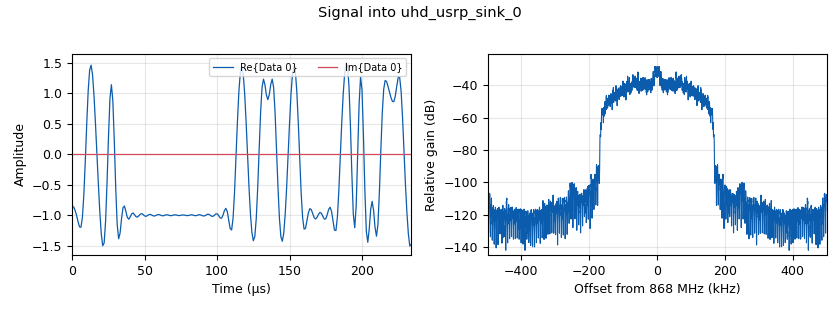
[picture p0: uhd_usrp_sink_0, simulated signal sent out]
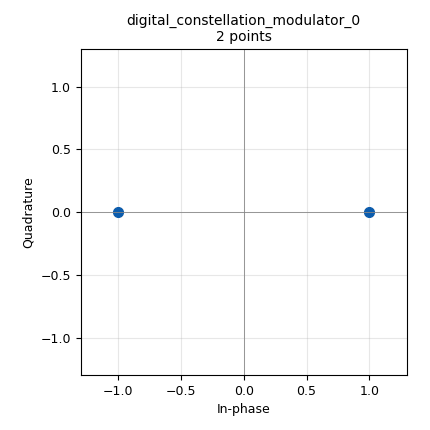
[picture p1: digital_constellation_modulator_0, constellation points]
options:
  parameters:
    generate_options: qt_gui
    id: moddemod
    output_language: python
    title: Not titled yet
  states: {}

blocks:
- name: BPSK
  id: variable_constellation
  parameters:
    precision: '8'
    type: bpsk
  states: {}
- name: header
  id: variable
  parameters:
    value: digital.header_format_default(key,0)
  states: {}
- name: key
  id: variable
  parameters:
    value: '"111000010101101010101010101110100010010011"'
  states: {}
- name: loop_bandwidth
  id: variable
  parameters:
    value: '0.1'
  states: {}
- name: samp_rate
  id: variable
  parameters:
    value: '1000000'
  states: {}
- name: taps
  id: variable
  parameters:
    value: firdes.root_raised_cosine(gain=1.0, sampling_freq=samp_rate, symbol_rate=500000 , alpha=0.35, ntaps=101)
  states: {}
- name: blocks_stream_to_tagged_stream_0
  id: blocks_stream_to_tagged_stream
  parameters:
    len_tag_key: '"packet_len"'
    packet_len: '22'
    type: byte
  states: {}
- name: blocks_tagged_stream_mux_0
  id: blocks_tagged_stream_mux
  parameters:
    lengthtagname: '"packet_len"'
    ninputs: '2'
    type: byte
  states: {}
- name: digital_constellation_modulator_0
  id: digital_constellation_modulator
  parameters:
    constellation: BPSK
    differential: 'True'
    excess_bw: '0.35'
    samples_per_symbol: '4'
  states: {}
- name: digital_protocol_formatter_bb_0
  id: digital_protocol_formatter_bb
  parameters:
    format: header
    len_tag_key: '"packet_len"'
  states: {}
- name: epy_block_0
  id: epy_block
  parameters:
    _source_code: |
      """
      Embedded Python Block: Random MAC Frame Generator

      Ce bloc génère des trames MAC avec des coordonnées (lat/lon/alt) aléatoires
      et ajoute le tag 'packet_len' nécessaire pour le traitement en aval.
      """

      import numpy as np
      import struct
      import zlib
      import random
      from gnuradio import gr
      import pmt # Importation essentielle pour les tags de paquets

      # Taille totale d'une trame générée (1 byte address + 4*4 bytes data + 1 byte padding + 4 bytes CRC)
      FRAME_LEN = 1 + 4 * 4 + 1 + 4 

      class blk(gr.sync_block):  # Utilisation de gr.sync_block (Source sans entrée)
          """Embedded Python Block pour générer des trames MAC aléatoires"""

          def __init__(self, address=0x2B, cow_id=2709, min_lat=48000000, max_lat=49000000, min_lon=1500000, max_lon=2500000, min_alt=100, max_alt=200):
              """Arguments de la fonction qui apparaissent comme paramètres dans GRC"""
              gr.sync_block.__init__(
                  self,
                  name='Random MAC Frame Generator',  # Nom du bloc dans GRC
                  in_sig=None,
                  out_sig=[np.byte]  # Flux de sortie d'octets
              )
              
              # Initialisation des paramètres (avec les plages que nous avons définies)
              self.address = int(address)
              self.cow_id = int(cow_id)
              self.min_lat = int(min_lat)
              self.max_lat = int(max_lat)
              self.min_lon = int(min_lon)
              self.max_lon = int(max_lon)
              self.min_alt = int(min_alt)
              self.max_alt = int(max_alt)

              self.frame_len = FRAME_LEN

          def generate_random_frame(self):
              """Génère une seule trame MAC avec des coordonnées aléatoires et le CRC"""
              
              # 1. Générer des valeurs aléatoires
              latitude = random.randint(self.min_lat, self.max_lat)
              longitude = random.randint(self.min_lon, self.max_lon)
              altitude = random.randint(self.min_alt, self.max_alt)
              
              # 2. Créer le Payload (Header + Données)
              # Format: >BIIII (Big-endian: 1 byte + 4 * 4 bytes)
              payload_bytes = struct.pack(">BIIII", self.address, self.cow_id, latitude, longitude, altitude)
              
              # 3. Ajouter 1 octet de bourrage (padding)
              payload_bytes += b"\x00"
              
              # 4. Calculer le CRC-32 (sur tout sauf le CRC lui-même)
              # & 0xFFFFFFFF est pour assurer une valeur non signée de 32 bits
              crc = zlib.crc32(payload_bytes) & 0xFFFFFFFF
              
              # 5. Frame complète = payload + bourrage + CRC
              # Format pour le CRC: >I (Big-endian: 4 bytes)
              frame = payload_bytes + struct.pack(">I", crc)
              
              return frame

          def work(self, input_items, output_items):
              """Génère et émet une trame complète à chaque appel"""
              
              out = output_items[0]
              
              # Utilisez FRAME_LEN directement
              frame_len = FRAME_LEN
              
              # Verify output buffer has enough space
              if len(out) < frame_len:
                   return 0

              # Générer la trame
              frame_bytes = self.generate_random_frame()
              frame_np = np.frombuffer(frame_bytes, dtype=np.byte)

              # Copier la trame dans le buffer de sortie
              out[:frame_len] = frame_np

              # IMPORTANT : Ajout du tag de longueur de paquet
              # CORRECTED ORDER: Port, Offset, Key, Value
              self.add_item_tag(0, # Port de sortie 0
                                self.nitems_written(0), # Offset actuel
                                pmt.intern("packet_len"), # Clé du tag (Symbol PMT)
                                pmt.from_long(frame_len)) # Valeur du tag (Longueur de 22)
              
              # Retourner le nombre d'octets produits
              return frame_len
    address: '0x2B'
    cow_id: '2709'
    max_alt: '300'
    max_lat: '49000000'
    max_lon: '2500000'
    min_alt: '100'
    min_lat: '48000000'
    min_lon: '1500000'
  states: {}
- name: uhd_usrp_sink_0
  id: uhd_usrp_sink
  parameters:
    ant0: '"TX/RX"'
    bw0: samp_rate/2
    center_freq0: '868000000'
    gain0: '70'
    samp_rate: samp_rate
    sync: sync
    type: fc32
  states: {}

connections:
- [blocks_stream_to_tagged_stream_0, '0', blocks_tagged_stream_mux_0, '1']
- [blocks_stream_to_tagged_stream_0, '0', digital_protocol_formatter_bb_0, '0']
- [blocks_tagged_stream_mux_0, '0', digital_constellation_modulator_0, '0']
- [digital_constellation_modulator_0, '0', uhd_usrp_sink_0, '0']
- [digital_protocol_formatter_bb_0, '0', blocks_tagged_stream_mux_0, '0']
- [epy_block_0, '0', blocks_stream_to_tagged_stream_0, '0']

metadata:
  file_format: 1
  grc_version: 3.10.5.1
